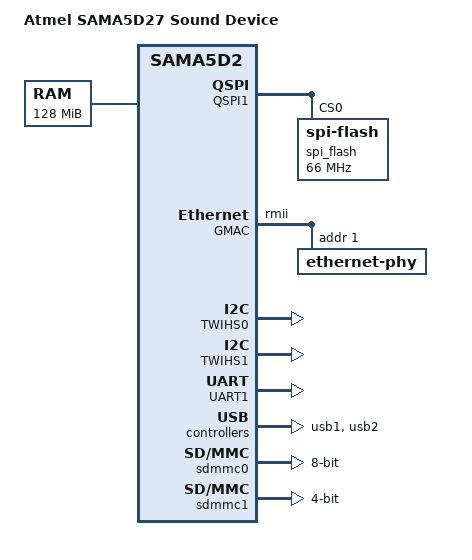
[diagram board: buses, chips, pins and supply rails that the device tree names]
/dts-v1/;

#include "sama5d2.dtsi"
#include "sama5d2-pinfunc.h"

/ {
    #address-cells = <1>;
    #size-cells = <1>;
    
    model = "Atmel SAMA5D27 Sound Device";
    compatible = "atmel,sama5d2", "atmel,sama5";

    memory {
        reg = <0x20000000 0x08000000>; /* 128MiB */
    }; 
    
    aliases {
        spi0 = &QSPI1;
        serial0=&UART1;
        eth0=&GMAC;
        u-boot,dm-pre-reloc;
    }; /* aliases */

    chosen {
		u-boot,dm-pre-reloc;
        bootargs = "console=ttyS0,115200 earlyprintk root=/dev/mmcblk0p2 rw rootwait";
		stdout-path = "serial0:115200n8";
	}; /* chosen */

    ahb {
        apb { 
            PIO: gpio@fc038000 {
                pinctrl {
                    /* QSPI1 IOSET2 pinout */
                    pinctrl_qspi1_sck_cs_default: qspi1_sck_cs_default {
                        pinmux =    <PIN_PB5__QSPI1_SCK>,
                                    <PIN_PB6__QSPI1_CS>;
                        bias-disable;
                        u-boot,dm-pre-reloc;
                    }; /* pinctrl_qspi1_sck_cs_default */
                    pinctrl_qspi1_dat_default: qspi1_dat_default {
                        pinmux =    <PIN_PB7__QSPI1_IO0>,
                                    <PIN_PB8__QSPI1_IO1>,
                                    <PIN_PB9__QSPI1_IO2>,
                                    <PIN_PB10__QSPI1_IO3>;
                        bias-pull-up;
                        u-boot,dm-pre-reloc;
                    }; /* pinctrl_qspi1_dat_default */
                    
                    /* MAC */
                    pinctrl_macb0_phy_irq: macb0_phy_irq {
                        pinmux =    <PIN_PD31__GPIO>;
                        bias-disable;
                    }; /* macb0_phy_irq */
                    pinctrl_macb0_rmii: macb0_rmii {
                        pinmux =    <PIN_PD9__GTXCK>,
                                    <PIN_PD10__GTXEN>,
                                    <PIN_PD11__GRXDV>,
                                    <PIN_PD12__GRXER>,
                                    <PIN_PD13__GRX0>,
                                    <PIN_PD14__GRX1>,
                                    <PIN_PD15__GTX0>,
                                    <PIN_PD16__GTX1>,
                                    <PIN_PD17__GMDC>,
                                    <PIN_PD18__GMDIO>;
                        bias-disable;
                    }; /* macb0_rmii */

                    /* I2C */
                    pinctrl_i2c0_default: i2c0_default {
                        pinmux =    <PIN_PD21__TWD0>,
                                    <PIN_PD22__TWCK0>;
                        bias-disable;
                    }; /* i2c0 */

                    pinctrl_i2c1_default: i2c1_default {
                        pinmux =    <PIN_PD4__TWD1>,
                                    <PIN_PD5__TWCK1>;
                        bias-disable;
                    }; /* i2c1 */

                    /* UART1 through jLink */
                    pinctrl_uart1_default: uart1_default {
                        pinmux =    <PIN_PD2__URXD1>, /* RX_3U */
                                    <PIN_PD3__UTXD1>; /* TX_3U */
                        bias-disable;
                        u-boot,dm-pre-reloc;
                    }; /* UART1 */

                    /* usb */
                    pinctrl_usb_default: usb_default {
                        pinmux =    <PIN_PB10__GPIO>;
                        bias-disable;
                    }; /* usb */

                    pinctrl_usba_vbus: usba_vbus {
                        pinmux =    <PIN_PD20__GPIO>;
                        bias-disable;
                    }; /* pinctrl_usba_vbus */  
                    
                    /* SD0 */
                    pinctrl_sdmmc0_cmd_dat_default: sdmmc0_cmd_dat_default {
                        pinmux =    <PIN_PA1__SDMMC0_CMD>,
                                    <PIN_PA2__SDMMC0_DAT0>,
                                    <PIN_PA3__SDMMC0_DAT1>,
                                    <PIN_PA4__SDMMC0_DAT2>,
                                    <PIN_PA5__SDMMC0_DAT3>,
                                    <PIN_PA6__SDMMC0_DAT4>,
                                    <PIN_PA7__SDMMC0_DAT5>,
                                    <PIN_PA8__SDMMC0_DAT6>,
                                    <PIN_PA9__SDMMC0_DAT7>;
                        bias-pull-up;
                        u-boot,dm-pre-reloc;
                    }; /* sdmmc0_cmd_dat */
                    pinctrl_sdmmc0_ck_cd_default: sdmmc0_ck_cd_default {
                        pinmux =    <PIN_PA0__SDMMC0_CK>,
                                    // <PIN_PA10__SDMMC0_RSTN>,                                    
                                    <PIN_PA13__SDMMC0_CD>,
                                    <PIN_PA12__SDMMC0_WP>;
                        bias-disable;
                        u-boot,dm-pre-reloc;
                    }; /* sdmmc0_ck_cd */

                    /* SD1 */
                    pinctrl_sdmmc1_cmd_dat_default: sdmmc1_cmd_dat_default {
                        pinmux =    <PIN_PA28__SDMMC1_CMD>,
                                    <PIN_PA18__SDMMC1_DAT0>,
                                    <PIN_PA19__SDMMC1_DAT1>,
                                    <PIN_PA20__SDMMC1_DAT2>,
                                    <PIN_PA21__SDMMC1_DAT3>;
                        bias-pull-up;
                        u-boot,dm-pre-reloc;
                    }; /* sdmmc1_cmd_dat */
                    pinctrl_sdmmc1_ck_cd_default: sdmmc1_ck_cd_default {
                        pinmux =    <PIN_PA22__SDMMC1_CK>,
                                    <PIN_PA30__SDMMC1_CD>;
                        bias-disable;
                        u-boot,dm-pre-reloc;
                    }; /* sdmmc1_ck_cd */
                                        
                }; /* pinctrl */
            }; /* PIO */        
        
            QSPI1: spi@f0024000 {
                pinctrl-names = "default";
                pinctrl-0 = <   &pinctrl_qspi1_sck_cs_default   \
                                &pinctrl_qspi1_dat_default      >;
                status = "okay";
                u-boot,dm-pre-reloc;
                    spi_flash@0 {
                        compatible = "spi-flash";
                        reg = <0>;
                        spi-max-frequency = <66000000>;
                        spi-rx-bus-width = <4>;
                        spi-tx-bus-width = <4>;
                        u-boot,dm-pre-reloc;
                    }; /* spi_flash@0 */
            }; /* QSPI1 */

            GMAC: ethernet@f8008000 {
                pinctrl-names = "default";
                pinctrl-0 = <&pinctrl_macb0_rmii &pinctrl_macb0_phy_irq>;
                phy-mode = "rmii";
                status = "okay";
                    ethernet-phy@1 {
                        reg = <0x1>;
                    }; /* ethernet-phy@1 */
            }; /* GMAC */

            TWIHS0: i2c@f8028000 {
                pinctrl-names = "default";
                pinctrl-0 = <&pinctrl_i2c0_default>;
                status = "okay";
            }; /* TWIHS0 */

            TWIHS1: i2c@fc028000 {
                pinctrl-names = "default";
                pinctrl-0 = <&pinctrl_i2c1_default>;
                status = "okay";
            }; /* TWIHS1 */
            
            UART1: serial@f8020000 {
                pinctrl-names = "default";
                pinctrl-0 = <&pinctrl_uart1_default>;
                status = "okay";
                u-boot,dm-pre-reloc;
            }; /* UART1 */
            
        }; /* apb */
        
        usb1: ohci@00400000 {
            num-ports = <3>;
            atmel,vbus-gpio = <&pioA 42 0>;
            pinctrl-names = "default";
            pinctrl-0 = <&pinctrl_usb_default>;
            status = "okay";
        }; /* usb1 */

        usb2: ehci@00500000 {
            status = "okay";
        }; /* usb2 */

        sdmmc0: sdio-host@a0000000 {
            bus-width = <8>;
            pinctrl-names = "default";
            pinctrl-0 = <   &pinctrl_sdmmc0_cmd_dat_default \
                            &pinctrl_sdmmc0_ck_cd_default>;
            status = "okay";
            u-boot,dm-pre-reloc;
        }; /* sdmmc0 */

        sdmmc1: sdio-host@b0000000 {
            bus-width = <4>;
            pinctrl-names = "default";
            pinctrl-0 = <   &pinctrl_sdmmc1_cmd_dat_default \
                            &pinctrl_sdmmc1_ck_cd_default>;
            status = "okay"; /* conflict with qspi0 */
            u-boot,dm-pre-reloc;
        }; /* sdmmc1 */
                
    }; /* ahb */  
};
